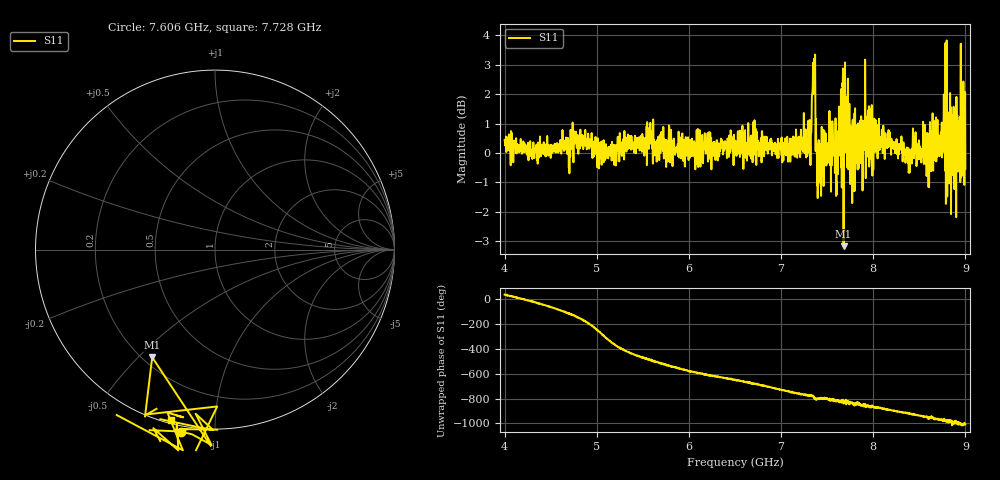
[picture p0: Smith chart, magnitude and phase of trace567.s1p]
! Created with skrf 1.8.0 (http://scikit-rf.org).
# Hz S RI R 50.0
!freq ReS11 ImS11
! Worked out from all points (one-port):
!   1601 points, 4 GHz to 9 GHz, reference 50 ohm
!   lowest |S11| = -3.2 dB at 7.678 GHz (marker M1), VSWR 5.55, Z = 11.9 - j27.5 ohm
!   |S11| at or under -10 dB: nowhere
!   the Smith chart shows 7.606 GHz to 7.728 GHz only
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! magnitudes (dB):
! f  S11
! 4 GHz  0.4
! 4.625 GHz  0.3
! 5.25 GHz  0.7
! 5.572 GHz  0.4
! 5.875 GHz  0.1
! 6.5 GHz  0.1
! 7.125 GHz  0.2
! 7.294 GHz  0.2
! 7.347 GHz  3.1
! 7.362 GHz  3.0
! 7.397 GHz  -1.5
! 7.412 GHz  -0.5
! 7.547 GHz  -0.4
! 7.6 GHz  -1.0
! 7.65 GHz  2.2
! 7.678 GHz  -3.2
! 7.688 GHz  1.8
! 7.75 GHz  -1.1
! 7.775 GHz  1.0
! 7.928 GHz  1.2
! 8.375 GHz  0.0
! 8.55 GHz  -0.4
! 8.603 GHz  -0.7
! 8.759 GHz  0.0
! 8.841 GHz  1.6
! 8.922 GHz  -0.4
! 8.959 GHz  2.2
! 9 GHz  -0.5
